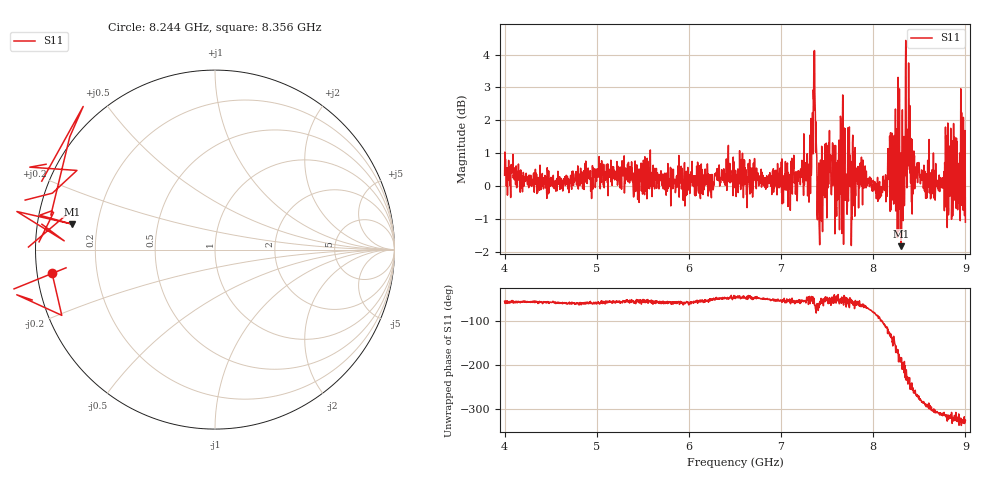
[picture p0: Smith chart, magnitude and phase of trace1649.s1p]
! Created with skrf 1.8.0 (http://scikit-rf.org).
# Hz S RI R 50.0
!freq ReS11 ImS11
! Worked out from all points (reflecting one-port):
!   1601 points, 4 GHz to 9 GHz, reference 50 ohm
!   lowest |S11| = -1.8 dB at 8.3 GHz (marker M1), VSWR 9.58, Z = 5.26 + j4.38 ohm
!   phase of S11 starts at -56 deg and turns -269 deg over the sweep
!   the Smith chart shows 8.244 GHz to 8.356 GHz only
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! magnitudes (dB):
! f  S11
! 4 GHz  0.3
! 4.625 GHz  -0.1
! 5.25 GHz  0.0
! 5.875 GHz  0.1
! 6.5 GHz  0.3
! 7.125 GHz  0.7
! 7.294 GHz  0.3
! 7.322 GHz  1.1
! 7.359 GHz  2.3
! 7.412 GHz  -1.1
! 7.438 GHz  -1.1
! 7.509 GHz  0.3
! 7.609 GHz  0.7
! 7.669 GHz  2.8
! 7.703 GHz  0.3
! 7.75 GHz  0.0
! 8.075 GHz  -0.3
! 8.259 GHz  1.5
! 8.3 GHz  -1.8
! 8.316 GHz  2.3
! 8.334 GHz  1.5
! 8.375 GHz  1.6
! 8.381 GHz  0.6
! 8.441 GHz  1.1
! 8.722 GHz  -0.2
! 8.919 GHz  0.0
! 8.972 GHz  0.1
! 9 GHz  -1.1
